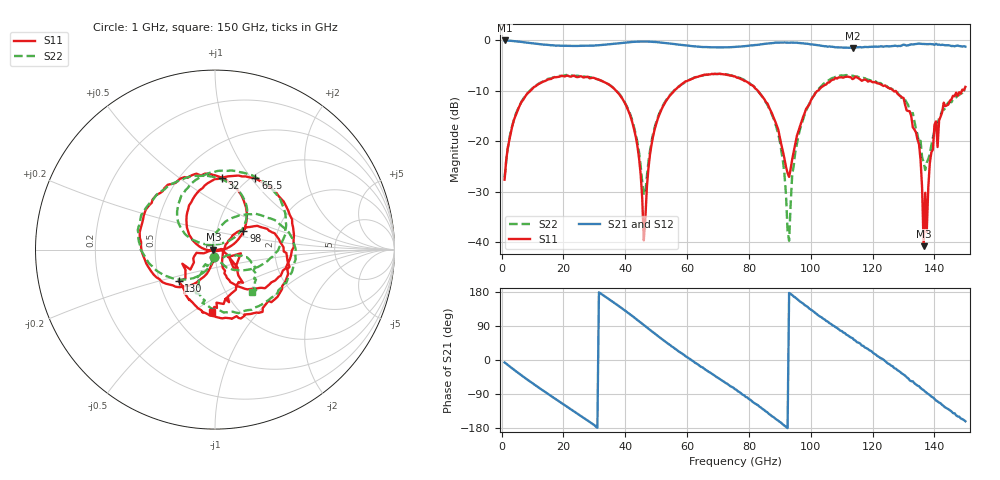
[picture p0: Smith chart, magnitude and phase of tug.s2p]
! hatab_megtron7_step30_2p0mm: multiline TRL calibrated (TUGMultilineTRL, scikit-rf 2.1.0)
! raw data ZiadHatab/verification-multiline-trl-calibration @ 021e735, mean of the repeated sweeps
! reference impedance: characteristic impedance of the 94 um 50 Ohm line,
! NOT 50 Ohm; the R value below is a placeholder required by the format
# Hz S RI R 50
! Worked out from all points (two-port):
!   299 points, 1 GHz to 150 GHz, reference 50 ohm
!   highest |S21| = -0.03 dB at 1 GHz (marker M1); lowest = -1.6 dB at 113.5 GHz (marker M2)
!   |S21| within 3 dB of the highest: start of sweep to end of sweep
!   lowest |S11| = -40.8 dB at 136.5 GHz (marker M3), VSWR 1.02, Z = 49.1 - j0.0659 ohm
!   |S11| at or under -10 dB: 37.05 GHz to 55.84 GHz (18.79 GHz wide, 40.5 % of centre); 82.88 GHz to 102.3 GHz (19.38 GHz wide, 20.9 % of centre); 126.8 GHz to 148.9 GHz (22.09 GHz wide, 16 % of centre)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
!   |S22| runs from -39.7 to -6.6 dB; largest |S21 - S12| = 0.12
!   S11 on the Smith chart (normalised r, x): 1 GHz: 0.99, -0.08; 32 GHz: 0.77, +0.74; 65.5 GHz: 1.05, +1.05; 98 GHz: 1.34, +0.29; 130 GHz: 0.63, -0.24; 150 GHz: 0.76, -0.60
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1e9  -0.0038 -0.0415  0.9905 -0.1133  0.9909 -0.1129  -0.00582 -0.0434
1.3e10  -0.3714 -0.0968  0.1871 -0.8936  0.1875 -0.8936  -0.3814 -0.0546
2.6e10  -0.169 0.4039  -0.7617 -0.4457  -0.7609 -0.4454  -0.2675 0.3491
3.2e10  0.0381 0.4001  -0.8948 0.0639  -0.8953 0.0453  0.00628 0.4011
4.25e10  0.1324 0.0601  -0.405 0.8761  -0.4246 0.8649  0.1271 0.0845
4.6e10  0.00579 -0.00866  -0.0413 0.9732  -0.0685 0.9691  0.00482 0.029
5.1e10  -0.1506 0.1039  0.4686 0.8307  0.4406 0.8454  -0.1669 0.0864
6.55e10  0.2253 0.3968  0.7916 -0.3332  0.8038 -0.2974  0.1149 0.4375
7.55e10  0.4391 0.0131  0.1927 -0.8385  0.2378 -0.8276  0.3908 0.2041
8.85e10  0.0613 -0.145  -0.856 -0.4073  -0.8248 -0.4605  0.1003 -0.1126
9.3e10  0.0441 -0.00505  -0.9451 0.0499  -0.9507 -0.00765  -0.00774 0.00686
9.4e10  0.06 0.0283  -0.9393 0.1438  -0.9458 0.0905  -0.00779 0.0463
9.8e10  0.1583 0.1041  -0.7631 0.5289  -0.7952 0.4819  0.0765 0.167
1.005e11  0.2355 0.1325  -0.591 0.6927  -0.6296 0.6623  0.1819 0.1978
1.135e11  0.2981 -0.2855  0.4454 0.7067  0.4111 0.7446  0.428 -0.1267
1.255e11  -0.1037 -0.3171  0.8524 -0.1705  0.8584 -0.1187  0.00577 -0.3329
1.3e11  -0.2021 -0.1765  0.7121 -0.5614  0.7546 -0.5043  -0.1061 -0.2433
1.35e11  -0.0915 -0.0191  0.3272 -0.8681  0.4051 -0.8287  -0.0535 -0.0809
1.365e11  -0.00912 -0.000671  0.1661 -0.9064  0.2424 -0.8916  0.0023 -0.0619
1.37e11  -0.0304 -0.00559  0.1016 -0.9118  0.1911 -0.9073  0.0159 -0.0495
1.4e11  0.1439 -0.0208  -0.1964 -0.8813  -0.121 -0.902  0.1224 -0.0311
1.5e11  -0.0162 -0.3456  -0.8223 -0.2716  -0.7916 -0.3548  0.2085 -0.2389
